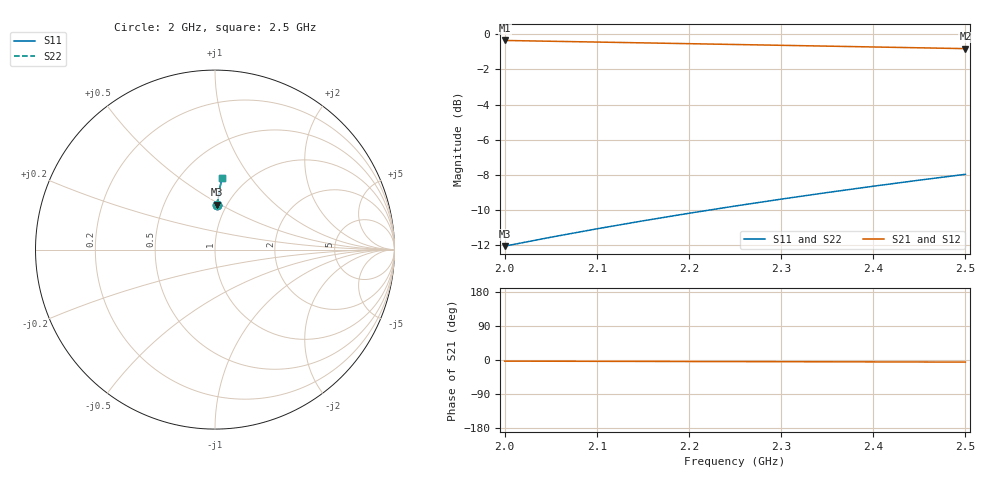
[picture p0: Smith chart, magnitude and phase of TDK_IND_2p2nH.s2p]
! TDK 2.2nH inductor S2P
! Simulated S-parameters for a 2.2nH inductor
! Frequency: 2.0 - 2.5 GHz
# GHz S MA R 50
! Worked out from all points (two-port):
!   11 points, 2 GHz to 2.5 GHz, reference 50 ohm
!   highest |S21| = -0.35 dB at 2 GHz (marker M1); lowest = -0.8 dB at 2.5 GHz (marker M2)
!   |S21| within 3 dB of the highest: start of sweep to end of sweep
!   lowest |S11| = -12.0 dB at 2 GHz (marker M3), VSWR 1.67, Z = 45.2 + j24.1 ohm
!   |S11| at or under -10 dB: start of sweep to 2.221 GHz
!   |S22| runs from -12.0 to -8.0 dB; largest |S21 - S12| = 0
2  0.25 87.0  0.96 -3.0  0.96 -3.0  0.25 87.0
2.05  0.265 86.8  0.955 -3.2  0.955 -3.2  0.265 86.8
2.1  0.28 86.5  0.95 -3.5  0.95 -3.5  0.28 86.5
2.15  0.295 86.2  0.945 -3.8  0.945 -3.8  0.295 86.2
2.2  0.31 86.0  0.94 -4.0  0.94 -4.0  0.31 86.0
2.25  0.325 85.8  0.935 -4.2  0.935 -4.2  0.325 85.8
2.3  0.34 85.5  0.93 -4.5  0.93 -4.5  0.34 85.5
2.35  0.355 85.2  0.925 -4.8  0.925 -4.8  0.355 85.2
2.4  0.37 85.0  0.92 -5.0  0.92 -5.0  0.37 85.0
2.45  0.385 84.8  0.915 -5.2  0.915 -5.2  0.385 84.8
2.5  0.4 84.5  0.91 -5.5  0.91 -5.5  0.4 84.5
